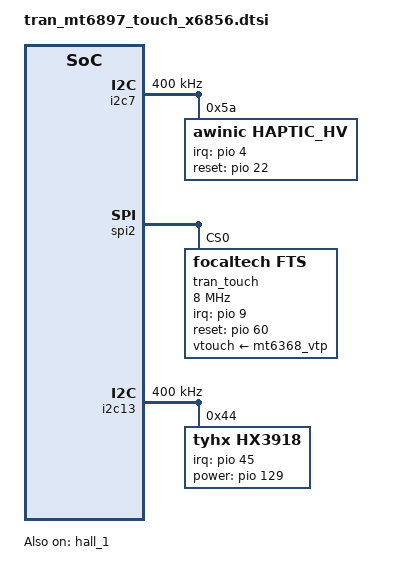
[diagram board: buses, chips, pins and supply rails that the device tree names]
// SPDX-License-Identifier: GPL-2.0
/*
 * Copyright (c) 2022 MediaTek Inc.
 */
/********************************************
 * MT6897 TOUCH/VIBR/KEY DTSI File
 ********************************************/
/* lk haptic start */
&chosen {
lra,info = <1 7 22>;//type:(1:X-lra 2:Z-lra)  bus_num:i2c7  reset_gpio:gpio22
};
/* lk haptic end */

/* key start */
&mt6363keys {
	home {
		linux,keycodes = <114>;
	};
};
/* key start */

/* AWINIC Haptic start */
&i2c7 {
	clock-frequency = <400000>;
	haptic_hv@5A {
		compatible = "awinic,haptic_hv";
		reg = <0x5A>;
		irq-gpio = <&pio 4 0>;
		reset-gpio = <&pio 22 0>;
		f0_pre = < 1700 >;
		mode = /bits/ 8 < 5 >;
		aw8692x_f0_cali_percent = /bits/ 8 < 7 >;
		aw8692x_gain_bypass = /bits/ 8 < 1 >;
		aw8692x_cont_drv1_lvl = /bits/ 8 < 0x7F >;
		aw8692x_cont_lra_vrms = < 1000 >; /* Motor rated voltage, mV. If use 0812, 0512, 0412 or 0825, please select ram get f0 */
		aw8692x_cont_drv1_time = /bits/ 8 < 0x04 >;
		aw8692x_cont_drv2_time = /bits/ 8 < 0x14 >;
		aw8692x_cont_track_margin = /bits/ 8 < 0x0F >;
		aw8692x_cont_brk_gain = /bits/ 8 < 0x08 >;
		aw8692x_cont_brk_time = /bits/ 8 < 0x08 >;
		//aw8692x_duration_time = /bits/ 8 < 20 30 60 >;
		aw8692x_duration_time = /bits/ 8 < 30 60 90 >;
		aw8692x_d2s_gain = /bits/ 8 < 0x04 >;
		aw8692x_trig_config = /bits/ 8 < 0 0 0 1 0 2 0 0
						 0 0 0 1 0 2 0 0
						 0 0 0 1 0 2 0 0 >;
		aw8692x_bst_vol_default = < 8500 >;
		aw8692x_is_enabled_track_en;
		aw8692x_is_enabled_auto_bst;
		/* aw8692x_is_enabled_one_wire; */
		status = "okay";
	};
};
/* AWINIC Haptic end */

/* hall start */
&hall_1 {
		hall_rlk,irq-gpio = <&pio 39 0x0>;
		interrupt-parent = <&pio>;
		interrupts = <5 IRQ_TYPE_LEVEL_LOW 39 0>;
		pinctrl-names = "default";
		pinctrl-0 = <&hall_intpin_default>;
		status = "okay";
};
&pio {
	hall_intpin_default: halldefaultcfg {
		pins_cmd_dat {
			pinmux = <PINMUX_GPIO39__FUNC_GPIO39>;
			slew-rate = <0>;
			bias-pull-up = <00>;
			status = "okay";
		};
	};
};
/* hall end */

/* TP start */
&odm {
	touch: touch {
		compatible = "mediatek,touch";
	};
};
&touch {
	supplier-num = <1>;
	supplier-vendor-0 = "TM";
	supplier-0 = "any, focaltech, ft3683g";
	supplier-resolution-0 = <16>;
};

&spi2 {
	tran_touch:touch@0 {
		 compatible = "focaltech,fts";
		 reg = <0>;
		 status = "ok";
		 spi-max-frequency = <8000000>;
		 interrupt-parent = <&pio>;
		 vtouch-supply = <&mt6368_vtp>;
		 //For ft3683g  driver config
		// focaltech,iovdd-gpio = <&pio 167 0x0>;
		 focaltech,irq-gpio = <&pio 9 0x0>;
		 focaltech,reset-gpio = <&pio 60 0x0>;
		 focaltech,max-touch-number = <10>;
		 focaltech,display-coords =  <0 0 17279 38975>;
		 focaltech,fod-function-support;
		 focaltech,custom-mistouch-support;
		 focaltech,pocket-function-support;
		 focaltech,switch-report-support;
		 pinctrl-names = "default","state_spi_mode";
		 pinctrl-0 = <&ctp_pins_default>;
		 pinctrl-1 = <&ctp_pins_spi_mode>;
	};
};
&pio {
	ctp_pins_default: ctp_default {
	};
	ctp_pins_spi_mode: ctp_spimode_default {
		pins_cmd_dat {
			pinmux = <PINMUX_GPIO13__FUNC_SPI2_MI>,
					 <PINMUX_GPIO12__FUNC_SPI2_CSB>,
					 <PINMUX_GPIO14__FUNC_SPI2_MO>,
					 <PINMUX_GPIO11__FUNC_SPI2_CLK>;
			drive-strength = <2>;
		};
	};
};
/* tp end */
/* heart_rate && oximetry start*/
&i2c13 {
       clock-frequency = <400000>;
       status = "okay";
       hx3918@44 {
		compatible = "tyhx,hx3918";
		reg = <0x44>;
		irq-gpios = <&pio 45 0x0>;
		power-gpios = <&pio 129 0x0>;
		/* ldrsel=2: ldr2 ，ldrsel=1:  ldr1, ldrsel=4: ldr3, GREEN_LED_SLE = IR_LED_SLE,  <green rad ir> */
		hx3918_ldr_channel = /bits/ 8 < 1 2 1 >;
		hx3918_spo2_ir_wear_thres = /bits/ 32 < 12000 7000 >;
		hx3918_slope_para = /bits/ 8 < 3 30 >;
		/*living_mode qu_thre st_thre*/
		hx3918_living_cfg = /bits/ 8 < 1 12 25 >;
		hx3918_count_block_num = /bits/ 8 < 50 >;
		//hx3918_spo2_low_xcorr_thre = /bits/ 8 < 30 >;
		hx3918_quick_result = /bits/ 8 < 1 >;
		hx3918_mean_num = /bits/ 16 < 32 >;
		hx3918_spo2_gsen_pow_thre = /bits/ 8 < 150 >;
		hx3918_spo2_base_line_init = /bits/ 32 < 123000 >;
		hx3918_spo2_slope = /bits/ 32 < 50000 >;
		hx3918_spo2_deglitch_thre = /bits/ 32 < 100000 >;
		hx3918_spo2_remove_jump_thre = /bits/ 32 < 80000 >;
		hx3918_spo2_clip = /bits/ 16 < 1500 150 500 >;
		hx3918_spo2_low_snr_thre = /bits/ 8 < 40 >;
		hx3918_spo2_amb_thre = /bits/ 32 < 266000 >;
       };
};
/* heart_rate && oximetry end*/
